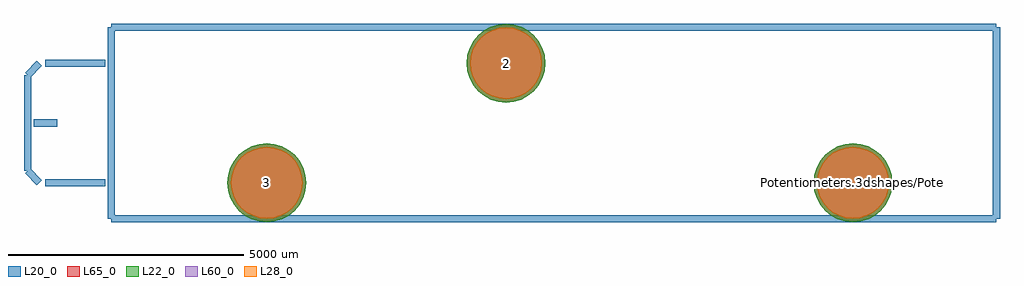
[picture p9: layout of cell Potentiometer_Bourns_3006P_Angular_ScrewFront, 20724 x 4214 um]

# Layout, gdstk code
import gdstk
lib = gdstk.Library(unit=1e-6, precision=1e-09)
def P(c, l, *ps):  # polygons
    for p in ps: c.add(gdstk.Polygon(p, *l))
L20_0 = (20, 0)
L22_0 = (22, 0)
L28_0 = (28, 0)
L60_0 = (60, 0)
L65_0 = (65, 0)

potentiometer_bourns_300 = lib.new_cell('Potentiometer_Bourns_3006P_Angular_ScrewFront')
P(potentiometer_bourns_300, L22_0, [(837,0),(820.917,163.291),(773.287,320.306),(695.94,465.012),(591.848,591.848),(465.012,695.94),(320.306,773.287),(163.291,820.917),(0,837),(-163.291,820.917),(-320.306,773.287),(-465.012,695.94),(-591.848,591.848),(-695.94,465.012),(-773.287,320.306),(-820.917,163.291),(-837,0),(-820.917,-163.291),(-773.287,-320.306),(-695.94,-465.012),(-591.848,-591.848),(-465.012,-695.94),(-320.306,-773.287),(-163.291,-820.917),(0,-837),(163.291,-820.917),(320.306,-773.287),(465.012,-695.94),(591.848,-591.848),(695.94,-465.012),(773.287,-320.306),(820.917,-163.291)],
  [(-6529,2540),(-6545.083,2703.291),(-6592.713,2860.306),(-6670.06,3005.012),(-6774.152,3131.848),(-6900.988,3235.94),(-7045.694,3313.287),(-7202.709,3360.917),(-7366,3377),(-7529.291,3360.917),(-7686.306,3313.287),(-7831.012,3235.94),(-7957.848,3131.848),(-8061.94,3005.012),(-8139.287,2860.306),(-8186.917,2703.291),(-8203,2540),(-8186.917,2376.709),(-8139.287,2219.694),(-8061.94,2074.988),(-7957.848,1948.152),(-7831.012,1844.06),(-7686.306,1766.713),(-7529.291,1719.083),(-7366,1703),(-7202.709,1719.083),(-7045.694,1766.713),(-6900.988,1844.06),(-6774.152,1948.152),(-6670.06,2074.988),(-6592.713,2219.694),(-6545.083,2376.709)],
  [(-11609,0),(-11625.083,163.291),(-11672.713,320.306),(-11750.06,465.012),(-11854.152,591.848),(-11980.988,695.94),(-12125.694,773.287),(-12282.709,820.917),(-12446,837),(-12609.291,820.917),(-12766.306,773.287),(-12911.012,695.94),(-13037.848,591.848),(-13141.94,465.012),(-13219.287,320.306),(-13266.917,163.291),(-13283,0),(-13266.917,-163.291),(-13219.287,-320.306),(-13141.94,-465.012),(-13037.848,-591.848),(-12911.012,-695.94),(-12766.306,-773.287),(-12609.291,-820.917),(-12446,-837),(-12282.709,-820.917),(-12125.694,-773.287),(-11980.988,-695.94),(-11854.152,-591.848),(-11750.06,-465.012),(-11672.713,-320.306),(-11625.083,-163.291)])
P(potentiometer_bourns_300, L28_0, [(762,0),(747.358,148.659),(703.996,291.605),(633.58,423.345),(538.815,538.815),(423.345,633.58),(291.605,703.996),(148.659,747.358),(0,762),(-148.659,747.358),(-291.605,703.996),(-423.345,633.58),(-538.815,538.815),(-633.58,423.345),(-703.996,291.605),(-747.358,148.659),(-762,0),(-747.358,-148.659),(-703.996,-291.605),(-633.58,-423.345),(-538.815,-538.815),(-423.345,-633.58),(-291.605,-703.996),(-148.659,-747.358),(0,-762),(148.659,-747.358),(291.605,-703.996),(423.345,-633.58),(538.815,-538.815),(633.58,-423.345),(703.996,-291.605),(747.358,-148.659)],
  [(-6604,2540),(-6618.642,2688.659),(-6662.004,2831.605),(-6732.42,2963.345),(-6827.185,3078.815),(-6942.655,3173.58),(-7074.395,3243.996),(-7217.341,3287.358),(-7366,3302),(-7514.659,3287.358),(-7657.605,3243.996),(-7789.345,3173.58),(-7904.815,3078.815),(-7999.58,2963.345),(-8069.996,2831.605),(-8113.358,2688.659),(-8128,2540),(-8113.358,2391.341),(-8069.996,2248.395),(-7999.58,2116.655),(-7904.815,2001.185),(-7789.345,1906.42),(-7657.605,1836.004),(-7514.659,1792.642),(-7366,1778),(-7217.341,1792.642),(-7074.395,1836.004),(-6942.655,1906.42),(-6827.185,2001.185),(-6732.42,2116.655),(-6662.004,2248.395),(-6618.642,2391.341)],
  [(-11684,0),(-11698.642,148.659),(-11742.004,291.605),(-11812.42,423.345),(-11907.185,538.815),(-12022.655,633.58),(-12154.395,703.996),(-12297.341,747.358),(-12446,762),(-12594.659,747.358),(-12737.605,703.996),(-12869.345,633.58),(-12984.815,538.815),(-13079.58,423.345),(-13149.996,291.605),(-13193.358,148.659),(-13208,0),(-13193.358,-148.659),(-13149.996,-291.605),(-13079.58,-423.345),(-12984.815,-538.815),(-12869.345,-633.58),(-12737.605,-703.996),(-12594.659,-747.358),(-12446,-762),(-12297.341,-747.358),(-12154.395,-703.996),(-12022.655,-633.58),(-11907.185,-538.815),(-11812.42,-423.345),(-11742.004,-291.605),(-11698.642,-148.659)])
P(potentiometer_bourns_300, L60_0, [(762,0),(747.358,148.659),(703.996,291.605),(633.58,423.345),(538.815,538.815),(423.345,633.58),(291.605,703.996),(148.659,747.358),(0,762),(-148.659,747.358),(-291.605,703.996),(-423.345,633.58),(-538.815,538.815),(-633.58,423.345),(-703.996,291.605),(-747.358,148.659),(-762,0),(-747.358,-148.659),(-703.996,-291.605),(-633.58,-423.345),(-538.815,-538.815),(-423.345,-633.58),(-291.605,-703.996),(-148.659,-747.358),(0,-762),(148.659,-747.358),(291.605,-703.996),(423.345,-633.58),(538.815,-538.815),(633.58,-423.345),(703.996,-291.605),(747.358,-148.659)],
  [(-6604,2540),(-6618.642,2688.659),(-6662.004,2831.605),(-6732.42,2963.345),(-6827.185,3078.815),(-6942.655,3173.58),(-7074.395,3243.996),(-7217.341,3287.358),(-7366,3302),(-7514.659,3287.358),(-7657.605,3243.996),(-7789.345,3173.58),(-7904.815,3078.815),(-7999.58,2963.345),(-8069.996,2831.605),(-8113.358,2688.659),(-8128,2540),(-8113.358,2391.341),(-8069.996,2248.395),(-7999.58,2116.655),(-7904.815,2001.185),(-7789.345,1906.42),(-7657.605,1836.004),(-7514.659,1792.642),(-7366,1778),(-7217.341,1792.642),(-7074.395,1836.004),(-6942.655,1906.42),(-6827.185,2001.185),(-6732.42,2116.655),(-6662.004,2248.395),(-6618.642,2391.341)],
  [(-11684,0),(-11698.642,148.659),(-11742.004,291.605),(-11812.42,423.345),(-11907.185,538.815),(-12022.655,633.58),(-12154.395,703.996),(-12297.341,747.358),(-12446,762),(-12594.659,747.358),(-12737.605,703.996),(-12869.345,633.58),(-12984.815,538.815),(-13079.58,423.345),(-13149.996,291.605),(-13193.358,148.659),(-13208,0),(-13193.358,-148.659),(-13149.996,-291.605),(-13079.58,-423.345),(-12984.815,-538.815),(-12869.345,-633.58),(-12737.605,-703.996),(-12594.659,-747.358),(-12446,-762),(-12297.341,-747.358),(-12154.395,-703.996),(-12022.655,-633.58),(-11907.185,-538.815),(-11812.42,-423.345),(-11742.004,-291.605),(-11698.642,-148.659)])
P(potentiometer_bourns_300, L65_0, [(837,0),(820.917,163.291),(773.287,320.306),(695.94,465.012),(591.848,591.848),(465.012,695.94),(320.306,773.287),(163.291,820.917),(0,837),(-163.291,820.917),(-320.306,773.287),(-465.012,695.94),(-591.848,591.848),(-695.94,465.012),(-773.287,320.306),(-820.917,163.291),(-837,0),(-820.917,-163.291),(-773.287,-320.306),(-695.94,-465.012),(-591.848,-591.848),(-465.012,-695.94),(-320.306,-773.287),(-163.291,-820.917),(0,-837),(163.291,-820.917),(320.306,-773.287),(465.012,-695.94),(591.848,-591.848),(695.94,-465.012),(773.287,-320.306),(820.917,-163.291)],
  [(-6529,2540),(-6545.083,2703.291),(-6592.713,2860.306),(-6670.06,3005.012),(-6774.152,3131.848),(-6900.988,3235.94),(-7045.694,3313.287),(-7202.709,3360.917),(-7366,3377),(-7529.291,3360.917),(-7686.306,3313.287),(-7831.012,3235.94),(-7957.848,3131.848),(-8061.94,3005.012),(-8139.287,2860.306),(-8186.917,2703.291),(-8203,2540),(-8186.917,2376.709),(-8139.287,2219.694),(-8061.94,2074.988),(-7957.848,1948.152),(-7831.012,1844.06),(-7686.306,1766.713),(-7529.291,1719.083),(-7366,1703),(-7202.709,1719.083),(-7045.694,1766.713),(-6900.988,1844.06),(-6774.152,1948.152),(-6670.06,2074.988),(-6592.713,2219.694),(-6545.083,2376.709)],
  [(-11609,0),(-11625.083,163.291),(-11672.713,320.306),(-11750.06,465.012),(-11854.152,591.848),(-11980.988,695.94),(-12125.694,773.287),(-12282.709,820.917),(-12446,837),(-12609.291,820.917),(-12766.306,773.287),(-12911.012,695.94),(-13037.848,591.848),(-13141.94,465.012),(-13219.287,320.306),(-13266.917,163.291),(-13283,0),(-13266.917,-163.291),(-13219.287,-320.306),(-13141.94,-465.012),(-13037.848,-591.848),(-12911.012,-695.94),(-12766.306,-773.287),(-12609.291,-820.917),(-12446,-837),(-12282.709,-820.917),(-12125.694,-773.287),(-11980.988,-695.94),(-11854.152,-591.848),(-11750.06,-465.012),(-11672.713,-320.306),(-11625.083,-163.291)])
potentiometer_bourns_300.add(gdstk.FlexPath([(3048,3302),(-15748,3302)], 149.998, ends="flush", simple_path=True, layer=20, datatype=0))  # L20_0
potentiometer_bourns_300.add(gdstk.FlexPath([(-15748,-762),(3048,-762)], 149.998, ends="flush", simple_path=True, layer=20, datatype=0))  # L20_0
potentiometer_bourns_300.add(gdstk.FlexPath([(3048,-762),(3048,3302)], 149.998, ends="flush", simple_path=True, layer=20, datatype=0))  # L20_0
potentiometer_bourns_300.add(gdstk.FlexPath([(-15748,-762),(-15748,3302)], 149.998, ends="flush", simple_path=True, layer=20, datatype=0))  # L20_0
potentiometer_bourns_300.add(gdstk.FlexPath([(-17399,1270),(-16891,1270)], 149.998, ends="flush", simple_path=True, layer=20, datatype=0))  # L20_0
potentiometer_bourns_300.add(gdstk.FlexPath([(-15875,0),(-17145,0)], 149.998, ends="flush", simple_path=True, layer=20, datatype=0))  # L20_0
potentiometer_bourns_300.add(gdstk.FlexPath([(-15875,2540),(-17145,2540)], 149.998, ends="flush", simple_path=True, layer=20, datatype=0))  # L20_0
potentiometer_bourns_300.add(gdstk.FlexPath([(-17526,254),(-17272,0)], 149.998, ends="flush", simple_path=True, layer=20, datatype=0))  # L20_0
potentiometer_bourns_300.add(gdstk.FlexPath([(-17526,1270),(-17526,254)], 149.998, ends="flush", simple_path=True, layer=20, datatype=0))  # L20_0
potentiometer_bourns_300.add(gdstk.FlexPath([(-17526,2286),(-17526,1270)], 149.998, ends="flush", simple_path=True, layer=20, datatype=0))  # L20_0
potentiometer_bourns_300.add(gdstk.FlexPath([(-17272,2540),(-17526,2286)], 149.998, ends="flush", simple_path=True, layer=20, datatype=0))  # L20_0
potentiometer_bourns_300.add(gdstk.Label('Potentiometers.3dshapes/Potentiometer_Bourns_3006P_Angular_ScrewFront.wrl', (0,0), layer=12, texttype=0))
potentiometer_bourns_300.add(gdstk.Label('1', (0,0), layer=28, texttype=0))
potentiometer_bourns_300.add(gdstk.Label('2', (-7366,2540), layer=28, texttype=0))
potentiometer_bourns_300.add(gdstk.Label('3', (-12446,0), layer=28, texttype=0))
potentiometer_bourns_300.add(gdstk.Label('type', (-6350,-3810), layer=9, texttype=0))
potentiometer_bourns_300.add(gdstk.Label('devicename', (-6350,6350), layer=9, texttype=0))

lib.write_gds('Potentiometer_Bourns_3006P_Angular_ScrewFront.gds')
